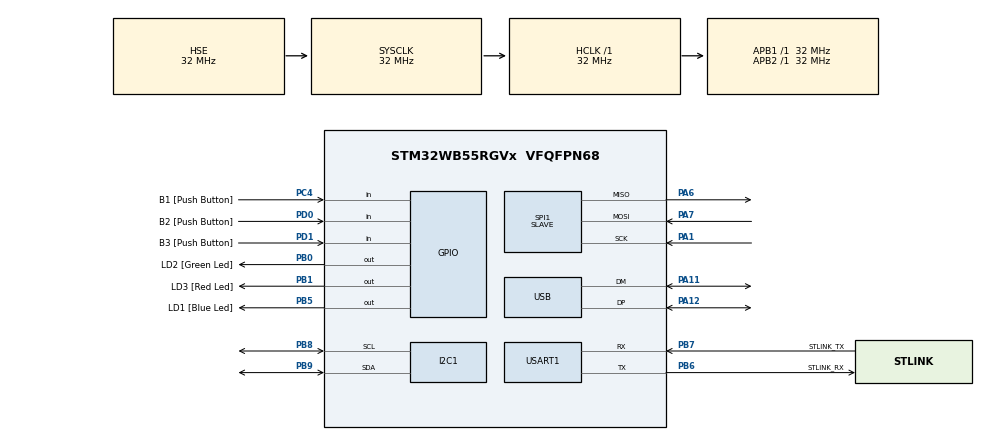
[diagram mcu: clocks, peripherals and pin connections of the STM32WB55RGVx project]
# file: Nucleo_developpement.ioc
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I2C1.Timing=0x00707CBB
Mcu.Family=STM32WB
Mcu.Name=STM32WB55RGVx
Mcu.Package=VFQFPN68
NVIC.HSEM_IRQn=true\:0\:0\:false\:false\:true\:false\:true\:true
NVIC.PriorityGroup=NVIC_PRIORITYGROUP_4
NVIC.SPI1_IRQn=true\:0\:0\:false\:false\:true\:true\:true\:true
OSC_IN.Mode=HSE-External-Oscillator
OSC_IN.Signal=RCC_OSC_IN
OSC_OUT.Mode=HSE-External-Oscillator
OSC_OUT.Signal=RCC_OSC_OUT
PA1.Mode=Full_Duplex_Slave
PA1.Signal=SPI1_SCK
PA11.Mode=Device
PA11.Signal=USB_DM
PA12.Mode=Device
PA12.Signal=USB_DP
PA13.GPIO_Label=JTMS
PA13.Mode=Trace_Asynchronous_SW
PA13.Signal=SYS_JTMS-SWDIO
PA14.GPIO_Label=JTCK
PA14.Mode=Trace_Asynchronous_SW
PA14.Signal=SYS_JTCK-SWCLK
PA6.Mode=Full_Duplex_Slave
PA6.Signal=SPI1_MISO
PA7.Mode=Full_Duplex_Slave
PA7.Signal=SPI1_MOSI
PB0.GPIO_Label=LD2 [Green Led]
PB0.Signal=GPIO_Output
PB1.GPIO_Label=LD3 [Red Led]
PB1.Signal=GPIO_Output
PB3.GPIO_Label=JTDO
PB3.Mode=Trace_Asynchronous_SW
PB3.Signal=SYS_JTDO-SWO
PB5.GPIO_Label=LD1 [Blue Led]
PB5.Signal=GPIO_Output
PB6.GPIO_Label=STLINK_RX
PB6.GPIO_PuPd=GPIO_PULLUP
PB6.Mode=Asynchronous
PB6.Signal=USART1_TX
PB7.GPIO_Label=STLINK_TX
PB7.GPIO_PuPd=GPIO_PULLUP
PB7.Mode=Asynchronous
PB7.Signal=USART1_RX
PB8.Mode=I2C
PB8.Signal=I2C1_SCL
PB9.Mode=I2C
PB9.Signal=I2C1_SDA
PC13.Mode=SYS_WakeUp1
PC13.Signal=SYS_WKUP2
PC14-OSC32_IN.Mode=LSE-External-Oscillator
PC14-OSC32_IN.Signal=RCC_OSC32_IN
PC15-OSC32_OUT.Mode=LSE-External-Oscillator
PC15-OSC32_OUT.Signal=RCC_OSC32_OUT
PC4.GPIO_Label=B1 [Push Button]
PC4.Signal=GPIO_Input
PD0.GPIO_Label=B2 [Push Button]
PD0.Signal=GPIO_Input
PD1.GPIO_Label=B3 [Push Button]
PD1.Signal=GPIO_Input
ProjectManager.HeapSize=0x200
ProjectManager.StackSize=0x400
ProjectManager.TargetToolchain=STM32CubeIDE
RCC.ADCFreq_Value=48000000
RCC.AHBFreq_Value=32000000
RCC.APB1Freq_Value=32000000
RCC.APB1TimFreq_Value=32000000
RCC.APB2Freq_Value=32000000
RCC.APB2TimFreq_Value=32000000
RCC.APB3Freq_Value=16000000
RCC.CortexFreq_Value=32000000
RCC.HCLKFreq_Value=32000000
RCC.HSE_VALUE=32000000
RCC.HSI48_VALUE=48000000
RCC.HSI_VALUE=16000000
RCC.LSE_Drive_Capability=RCC_LSEDRIVE_LOW
RCC.PLLN=32
RCC.PLLSAI1N=24
RCC.SMPSCLockSelectionVirtual=RCC_SMPSCLKSOURCE_HSI
RCC.SMPSCLockSelectionVirtualVirtual=RCC_SMPSCLKSOURCE_HSI
RCC.SMPSDivider=1
RCC.SYSCLKFreq_VALUE=32000000
RCC.SYSCLKSource=RCC_SYSCLKSOURCE_HSE
RCC.USBFreq_Value=48000000
RCC.VCOOutputFreq_Value=128000000
RF1.Mode=RF1_Activate
RF1.Signal=RF_RF1
SPI1.CRCCalculation=SPI_CRCCALCULATION_DISABLE
SPI1.DataSize=SPI_DATASIZE_8BIT
SPI1.Direction=SPI_DIRECTION_2LINES
SPI1.Mode=SPI_MODE_SLAVE
SPI1.VirtualType=VM_SLAVE
STM32_WPAN.ENDPOINT1_DEVICE_ID=ZCL_DEVICE_REMOTE_CONTROL
STM32_WPAN.ENDPOINT1_ID_ZGB=1
STM32_WPAN.ZCL_ELECTRICALMEASUREMENT_ENDPOINT1=CLIENT
STM32_WPAN.ZCL_FAN_CONTROL_ENDPOINT1=CLIENT
STM32_WPAN.ZCL_ILLUMINANCE_MEASUREMENT_ENDPOINT1=CLIENT
STM32_WPAN.ZCL_ONOFF_ENDPOINT1=CLIENT
STM32_WPAN.ZCL_TEMPERATURE_MEASUREMENT_ENDPOINT1=CLIENT
STM32_WPAN.ZGB_ENDPOINT1_PROFILE_ID=ZCL_PROFILE_HOME_AUTOMATION
USART1.VirtualMode-Asynchronous=VM_ASYNC
USART1.WordLength=WORDLENGTH_7B
VP_HSEM_VS_HSEM.Mode=HSEM_Activate
VP_MEMORYMAP_VS_MEMORYMAP.Mode=CurAppReg
VP_RTC_VS_RTC_Activate.Mode=RTC_Enabled
VP_SEQUENCER_VS_SEQUENCER.Mode=SEQUENCER_Enabled
VP_STM32_WPAN_VS_ZIGBEE.Mode=MOD_ZGB_ENDPOINT
VP_TINY_LPM_VS_TINY_LPM.Mode=TINY_LPM_Enabled
board=NUCLEO-WB55RG

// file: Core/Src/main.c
/* USER CODE BEGIN Header */
/**
  ******************************************************************************
  * @file           : main.c
  * @brief          : Main program body
  ******************************************************************************
  * @attention
  *
  * Copyright (c) 2023 STMicroelectronics.
  * All rights reserved.
  *
  * This software is licensed under terms that can be found in the LICENSE file
  * in the root directory of this software component.
  * If no LICENSE file comes with this software, it is provided AS-IS.
  *
  ******************************************************************************
  */
/* USER CODE END Header */
#include "main.h"
#include "stm32_seq.h"

/* USER CODE BEGIN PD */
enum
{
  TRANSFER_WAIT,
  TRANSFER_COMPLETE,
  TRANSFER_ERROR
};
/* USER CODE END PD */

I2C_HandleTypeDef hi2c1;

RTC_HandleTypeDef hrtc;

SPI_HandleTypeDef hspi1;

UART_HandleTypeDef huart1;

PCD_HandleTypeDef hpcd_USB_FS;

/* USER CODE BEGIN PV */
/* Buffer used for transmission */
uint8_t aTxBuffer[] = "Hello raspi\n";
/* Buffer used for reception */
uint8_t aRxBuffer[BUFFERSIZE];

/* transfer state */
__IO uint32_t wTransferState = TRANSFER_WAIT;
/* USER CODE END PV */

void SystemClock_Config(void);
void PeriphCommonClock_Config(void);
static void MX_GPIO_Init(void);
static void MX_I2C1_Init(void);
static void MX_SPI1_Init(void);
static void MX_USART1_UART_Init(void);
static void MX_USB_PCD_Init(void);
static void MX_MEMORYMAP_Init(void);
static void MX_RTC_Init(void);
static void MX_RF_Init(void);

int main(void)
{

  /* MCU Configuration--------------------------------------------------------*/

  /* Reset of all peripherals, Initializes the Flash interface and the Systick. */
  HAL_Init();
  /* Config code for STM32_WPAN (HSE Tuning must be done before system clock configuration) */
  MX_APPE_Config();

  /* Configure the system clock */
  SystemClock_Config();

/* Configure the peripherals common clocks */
  PeriphCommonClock_Config();

  /* Initialize all configured peripherals */
  MX_GPIO_Init();
  MX_I2C1_Init();
  MX_SPI1_Init();
  MX_USART1_UART_Init();
  MX_USB_PCD_Init();
  MX_MEMORYMAP_Init();
  MX_RTC_Init();
  MX_RF_Init();
  /* USER CODE BEGIN 2 */
  /* Register task */
    //Task associated with the SPI reception and read
  	UTIL_SEQ_RegTask(1U << CFG_TASK_SPI_read, UTIL_SEQ_RFU, APP_SPIread_Process);

  /*##-1- Start the Full Duplex Communication process ########################*/
  /* While the SPI in TransmitReceive process, user can transmit data through
     "aTxBuffer" buffer & receive data through "aRxBuffer" */
  if (HAL_SPI_TransmitReceive_IT(&hspi1, (uint8_t *)aTxBuffer, (uint8_t *)aRxBuffer, BUFFERSIZE) != HAL_OK)
  {
    /* Transfer error in transmission process */
    Error_Handler();
  }

  /* USER CODE END 2 */

  /* Init code for STM32_WPAN */
  MX_APPE_Init();

  /* Infinite loop */
  while (1)
  {
    MX_APPE_Process();

  }
}

void SystemClock_Config(void)
{
  RCC_OscInitTypeDef RCC_OscInitStruct = {0};
  RCC_ClkInitTypeDef RCC_ClkInitStruct = {0};

  /** Macro to configure the PLL multiplication factor
  */
  __HAL_RCC_PLL_PLLM_CONFIG(RCC_PLLM_DIV1);

  /** Macro to configure the PLL clock source
  */
  __HAL_RCC_PLL_PLLSOURCE_CONFIG(RCC_PLLSOURCE_MSI);

  /** Configure LSE Drive Capability
  */
  HAL_PWR_EnableBkUpAccess();
  __HAL_RCC_LSEDRIVE_CONFIG(RCC_LSEDRIVE_LOW);

  /** Configure the main internal regulator output voltage
  */
  __HAL_PWR_VOLTAGESCALING_CONFIG(PWR_REGULATOR_VOLTAGE_SCALE1);

  /** Initializes the RCC Oscillators according to the specified parameters
  * in the RCC_OscInitTypeDef strufcture.
  */
  RCC_OscInitStruct.OscillatorType = RCC_OSCILLATORTYPE_HSI|RCC_OSCILLATORTYPE_LSI1
                              |RCC_OSCILLATORTYPE_HSE|RCC_OSCILLATORTYPE_LSE
                              |RCC_OSCILLATORTYPE_MSI;
  RCC_OscInitStruct.HSEState = RCC_HSE_ON;
  RCC_OscInitStruct.LSEState = RCC_LSE_ON;
  RCC_OscInitStruct.HSIState = RCC_HSI_ON;
  RCC_OscInitStruct.MSIState = RCC_MSI_ON;
  RCC_OscInitStruct.HSICalibrationValue = RCC_HSICALIBRATION_DEFAULT;
  RCC_OscInitStruct.MSICalibrationValue = RCC_MSICALIBRATION_DEFAULT;
  RCC_OscInitStruct.MSIClockRange = RCC_MSIRANGE_6;
  RCC_OscInitStruct.LSIState = RCC_LSI_ON;
  RCC_OscInitStruct.PLL.PLLState = RCC_PLL_NONE;
  if (HAL_RCC_OscConfig(&RCC_OscInitStruct) != HAL_OK)
  {
    Error_Handler();
  }

  /** Configure the SYSCLKSource, HCLK, PCLK1 and PCLK2 clocks dividers
  */
  RCC_ClkInitStruct.ClockType = RCC_CLOCKTYPE_HCLK4|RCC_CLOCKTYPE_HCLK2
                              |RCC_CLOCKTYPE_HCLK|RCC_CLOCKTYPE_SYSCLK
                              |RCC_CLOCKTYPE_PCLK1|RCC_CLOCKTYPE_PCLK2;
  RCC_ClkInitStruct.SYSCLKSource = RCC_SYSCLKSOURCE_HSE;
  RCC_ClkInitStruct.AHBCLKDivider = RCC_SYSCLK_DIV1;
  RCC_ClkInitStruct.APB1CLKDivider = RCC_HCLK_DIV1;
  RCC_ClkInitStruct.APB2CLKDivider = RCC_HCLK_DIV1;
  RCC_ClkInitStruct.AHBCLK2Divider = RCC_SYSCLK_DIV1;
  RCC_ClkInitStruct.AHBCLK4Divider = RCC_SYSCLK_DIV1;

  if (HAL_RCC_ClockConfig(&RCC_ClkInitStruct, FLASH_LATENCY_1) != HAL_OK)
  {
    Error_Handler();
  }

  /** Enable MSI Auto calibration
  */
  HAL_RCCEx_EnableMSIPLLMode();
}

void PeriphCommonClock_Config(void)
{
  RCC_PeriphCLKInitTypeDef PeriphClkInitStruct = {0};

  /** Initializes the peripherals clock
  */
  PeriphClkInitStruct.PeriphClockSelection = RCC_PERIPHCLK_SMPS|RCC_PERIPHCLK_RFWAKEUP;
  PeriphClkInitStruct.RFWakeUpClockSelection = RCC_RFWKPCLKSOURCE_HSE_DIV1024;
  PeriphClkInitStruct.SmpsClockSelection = RCC_SMPSCLKSOURCE_HSI;
  PeriphClkInitStruct.SmpsDivSelection = RCC_SMPSCLKDIV_RANGE0;

  if (HAL_RCCEx_PeriphCLKConfig(&PeriphClkInitStruct) != HAL_OK)
  {
    Error_Handler();
  }
}

static void MX_I2C1_Init(void)
{

  hi2c1.Instance = I2C1;
  hi2c1.Init.Timing = 0x00707CBB;
  hi2c1.Init.OwnAddress1 = 0;
  hi2c1.Init.AddressingMode = I2C_ADDRESSINGMODE_7BIT;
  hi2c1.Init.DualAddressMode = I2C_DUALADDRESS_DISABLE;
  hi2c1.Init.OwnAddress2 = 0;
  hi2c1.Init.OwnAddress2Masks = I2C_OA2_NOMASK;
  hi2c1.Init.GeneralCallMode = I2C_GENERALCALL_DISABLE;
  hi2c1.Init.NoStretchMode = I2C_NOSTRETCH_DISABLE;
  if (HAL_I2C_Init(&hi2c1) != HAL_OK)
  {
    Error_Handler();
  }

  /** Configure Analogue filter
  */
  if (HAL_I2CEx_ConfigAnalogFilter(&hi2c1, I2C_ANALOGFILTER_ENABLE) != HAL_OK)
  {
    Error_Handler();
  }

  /** Configure Digital filter
  */
  if (HAL_I2CEx_ConfigDigitalFilter(&hi2c1, 0) != HAL_OK)
  {
    Error_Handler();
  }

}

static void MX_MEMORYMAP_Init(void)
{

}

static void MX_RF_Init(void)
{

}

static void MX_RTC_Init(void)
{

  /** Initialize RTC Only
  */
  hrtc.Instance = RTC;
  hrtc.Init.HourFormat = RTC_HOURFORMAT_24;
  hrtc.Init.AsynchPrediv = CFG_RTC_ASYNCH_PRESCALER;
  hrtc.Init.SynchPrediv = CFG_RTC_SYNCH_PRESCALER;
  hrtc.Init.OutPut = RTC_OUTPUT_DISABLE;
  hrtc.Init.OutPutPolarity = RTC_OUTPUT_POLARITY_HIGH;
  hrtc.Init.OutPutType = RTC_OUTPUT_TYPE_OPENDRAIN;
  hrtc.Init.OutPutRemap = RTC_OUTPUT_REMAP_NONE;
  if (HAL_RTC_Init(&hrtc) != HAL_OK)
  {
    Error_Handler();
  }

}

static void MX_SPI1_Init(void)
{

  /* SPI1 parameter configuration*/
  hspi1.Instance = SPI1;
  hspi1.Init.Mode = SPI_MODE_SLAVE;
  hspi1.Init.Direction = SPI_DIRECTION_2LINES;
  hspi1.Init.DataSize = SPI_DATASIZE_8BIT;
  hspi1.Init.CLKPolarity = SPI_POLARITY_LOW;
  hspi1.Init.CLKPhase = SPI_PHASE_1EDGE;
  hspi1.Init.NSS = SPI_NSS_SOFT;
  hspi1.Init.FirstBit = SPI_FIRSTBIT_MSB;
  hspi1.Init.TIMode = SPI_TIMODE_DISABLE;
  hspi1.Init.CRCCalculation = SPI_CRCCALCULATION_DISABLE;
  hspi1.Init.CRCPolynomial = 7;
  hspi1.Init.CRCLength = SPI_CRC_LENGTH_DATASIZE;
  hspi1.Init.NSSPMode = SPI_NSS_PULSE_DISABLE;
  if (HAL_SPI_Init(&hspi1) != HAL_OK)
  {
    Error_Handler();
  }

}

static void MX_USART1_UART_Init(void)
{

  huart1.Instance = USART1;
  huart1.Init.BaudRate = 115200;
  huart1.Init.WordLength = UART_WORDLENGTH_7B;
  huart1.Init.StopBits = UART_STOPBITS_1;
  huart1.Init.Parity = UART_PARITY_NONE;
  huart1.Init.Mode = UART_MODE_TX_RX;
  huart1.Init.HwFlowCtl = UART_HWCONTROL_NONE;
  huart1.Init.OverSampling = UART_OVERSAMPLING_16;
  huart1.Init.OneBitSampling = UART_ONE_BIT_SAMPLE_DISABLE;
  huart1.Init.ClockPrescaler = UART_PRESCALER_DIV1;
  huart1.AdvancedInit.AdvFeatureInit = UART_ADVFEATURE_NO_INIT;
  if (HAL_UART_Init(&huart1) != HAL_OK)
  {
    Error_Handler();
  }
  if (HAL_UARTEx_SetTxFifoThreshold(&huart1, UART_TXFIFO_THRESHOLD_1_8) != HAL_OK)
  {
    Error_Handler();
  }
  if (HAL_UARTEx_SetRxFifoThreshold(&huart1, UART_RXFIFO_THRESHOLD_1_8) != HAL_OK)
  {
    Error_Handler();
  }
  if (HAL_UARTEx_DisableFifoMode(&huart1) != HAL_OK)
  {
    Error_Handler();
  }

}

static void MX_USB_PCD_Init(void)
{

  hpcd_USB_FS.Instance = USB;
  hpcd_USB_FS.Init.dev_endpoints = 8;
  hpcd_USB_FS.Init.speed = PCD_SPEED_FULL;
  hpcd_USB_FS.Init.phy_itface = PCD_PHY_EMBEDDED;
  hpcd_USB_FS.Init.Sof_enable = DISABLE;
  hpcd_USB_FS.Init.low_power_enable = DISABLE;
  hpcd_USB_FS.Init.lpm_enable = DISABLE;
  hpcd_USB_FS.Init.battery_charging_enable = DISABLE;
  if (HAL_PCD_Init(&hpcd_USB_FS) != HAL_OK)
  {
    Error_Handler();
  }

}

static void MX_GPIO_Init(void)
{
  GPIO_InitTypeDef GPIO_InitStruct = {0};

  /* GPIO Ports Clock Enable */
  __HAL_RCC_GPIOC_CLK_ENABLE();
  __HAL_RCC_GPIOB_CLK_ENABLE();
  __HAL_RCC_GPIOA_CLK_ENABLE();
  __HAL_RCC_GPIOD_CLK_ENABLE();

  /*Configure GPIO pin Output Level */
  HAL_GPIO_WritePin(GPIOB, LD2_Pin|LD3_Pin|LD1_Pin, GPIO_PIN_RESET);

  /*Configure GPIO pin : B1_Pin */
  GPIO_InitStruct.Pin = B1_Pin;
  GPIO_InitStruct.Mode = GPIO_MODE_INPUT;
  GPIO_InitStruct.Pull = GPIO_NOPULL;
  HAL_GPIO_Init(B1_GPIO_Port, &GPIO_InitStruct);

  /*Configure GPIO pins : LD2_Pin LD3_Pin LD1_Pin */
  GPIO_InitStruct.Pin = LD2_Pin|LD3_Pin|LD1_Pin;
  GPIO_InitStruct.Mode = GPIO_MODE_OUTPUT_PP;
  GPIO_InitStruct.Pull = GPIO_NOPULL;
  GPIO_InitStruct.Speed = GPIO_SPEED_FREQ_LOW;
  HAL_GPIO_Init(GPIOB, &GPIO_InitStruct);

  /*Configure GPIO pins : B2_Pin B3_Pin */
  GPIO_InitStruct.Pin = B2_Pin|B3_Pin;
  GPIO_InitStruct.Mode = GPIO_MODE_INPUT;
  GPIO_InitStruct.Pull = GPIO_NOPULL;
  HAL_GPIO_Init(GPIOD, &GPIO_InitStruct);

}

/* USER CODE BEGIN 4 */
/**
  * @brief  TxRx Transfer completed callback.
  * @param  hspi: SPI handle
  * @note   This example shows a simple way to report end of Interrupt TxRx transfer, and
  *         you can add your own implementation.
  * @retval None
  */
void HAL_SPI_TxRxCpltCallback(SPI_HandleTypeDef *hspi)
{

  /* Turn LED1 on: Transfer in transmission process is complete */
	HAL_GPIO_WritePin(GPIOB, GPIO_PIN_5, GPIO_PIN_SET);
  /* Turn LED2 on: Transfer in reception process is complete */
	HAL_GPIO_WritePin(GPIOB, GPIO_PIN_0, GPIO_PIN_SET);
	wTransferState = TRANSFER_COMPLETE;
	UTIL_SEQ_SetTask(1U << CFG_TASK_SPI_read, CFG_SCH_PRIO_0);
}

/**
  * @brief  SPI error callbacks.
  * @param  hspi: SPI handle
  * @note   This example shows a simple way to report transfer error, and you can
  *         add your own implementation.
  * @retval None
  */
void HAL_SPI_ErrorCallback(SPI_HandleTypeDef *hspi)
{
  wTransferState = TRANSFER_ERROR;
}

void APP_SPIread_Process(void)
{
	if (wTransferState == TRANSFER_COMPLETE){
	      /*##-Read Buffer  ##############################*/
		wTransferState = TRANSFER_WAIT;
	    	if (HAL_SPI_TransmitReceive_IT(&hspi1, (uint8_t *)aTxBuffer, (uint8_t *)aRxBuffer, BUFFERSIZE) != HAL_OK)
	    	  {
	    	    /* Transfer error in transmission process */
	    	    Error_Handler();
	    	  }
	    }
}
/* USER CODE END 4 */

void Error_Handler(void)
{
  __disable_irq();
  while (1)
  {
  }
}
